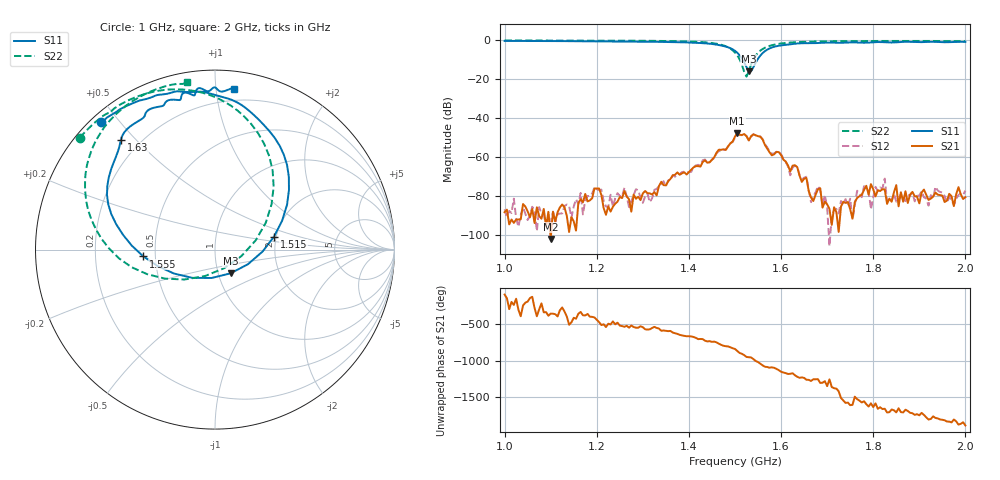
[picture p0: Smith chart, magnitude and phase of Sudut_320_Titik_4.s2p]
# Hz S RI R 50
! CMT, C1220, 16058040, 17.2.0/1
! Date: 14/08/2018 12:33:37
! Data: Format (Calibration Info)
! Freq  S11: Re/Im (F2)  S21: Re/Im (F2)  S12: Re/Im (F2)  S22: Re/Im (F2)
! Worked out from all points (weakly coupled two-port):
!   201 points, 1 GHz to 2 GHz, reference 50 ohm
!   highest |S21| = -47.91 dB at 1.505 GHz (marker M1); lowest = -102.1 dB at 1.1 GHz (marker M2)
!   lowest |S11| = -16.0 dB at 1.53 GHz (marker M3), VSWR 1.38, Z = 57.3 - j15.5 ohm
!   |S11| at or under -10 dB: 1.516 GHz to 1.549 GHz (32.52 MHz wide, 2.12 % of centre)
!   |S22| runs from -18.7 to -0.2 dB; largest |S21 - S12| = 0.00024
!   S11 on the Smith chart (normalised r, x): 1 GHz: 0.03, +0.45; 1.515 GHz: 1.95, +0.32; 1.555 GHz: 0.43, -0.04; 1.63 GHz: 0.13, +0.45; 2 GHz: 0.12, +1.12
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1e9  -0.6337 0.7087  -7.4e-06 -3.75e-05  3.26e-06 4.54e-05  -0.7532 0.624
1.1e9  -0.5357 0.7783  7.84e-06 -1.25e-07  1.7e-05 -8.4e-06  -0.6808 0.6984
1.17e9  -0.4564 0.8162  6.29e-05 -2.72e-05  2.68e-06 -3.33e-05  -0.6171 0.7493
1.33e9  -0.2002 0.8814  -9.96e-05 2.76e-05  -0.00014 5.82e-05  -0.4116 0.8603
1.335e9  -0.1914 0.8802  -0.000164 7.27e-05  -0.000148 9.81e-05  -0.4019 0.8635
1.45e9  0.1922 0.7715  0.00077 -0.000352  0.000746 -0.000392  0.0209 0.8401
1.5e9  0.4122 0.3325  -0.00176 -0.00285  -0.00166 -0.00263  0.3268 0.3496
1.505e9  0.4014 0.2501  -0.00347 -0.00204  -0.00331 -0.00206  0.3151 0.2521
1.515e9  0.3291 0.0728  -0.00362 0.000474  -0.00361 0.000378  0.2265 0.0511
1.53e9  0.087 -0.1322  -0.00158 0.00213  -0.0016 0.00215  -0.0569 -0.1479
1.555e9  -0.3992 -0.0378  0.00264 0.00199  0.00258 0.00216  -0.5352 -0.0483
1.62e9  -0.5338 0.5696  -6.72e-05 -0.000419  -4.18e-05 -0.000335  -0.7064 0.4975
1.63e9  -0.5241 0.6127  -0.0003 -0.000537  -0.00023 -0.000546  -0.6917 0.5425
1.67e9  -0.4068 0.7287  -7.35e-05 -8.06e-06  -8.52e-05 -5.06e-05  -0.6248 0.6702
1.68e9  -0.3926 0.7428  -0.000147 -1.84e-05  -0.000175 -3.36e-05  -0.6086 0.6927
1.69e9  -0.3866 0.7601  -3.76e-05 3.3e-05  -5.29e-05 2.56e-05  -0.5923 0.7115
1.8e9  -0.1861 0.8599  -0.000144 3.19e-05  -6.67e-05 6.4e-05  -0.4265 0.8469
1.825e9  -0.142 0.8691  -0.00012 8.34e-05  -0.000218 0.000172  -0.3919 0.865
1.835e9  -0.1217 0.8599  -1.2e-05 8.41e-05  -2.06e-05 8.07e-05  -0.3785 0.872
1.85e9  -0.11 0.869  -1.68e-05 0.000188  3.75e-06 7.12e-05  -0.3582 0.8812
1.855e9  -0.1078 0.8785  -4.71e-05 2.64e-05  -2.39e-05 7.66e-05  -0.3514 0.8836
2e9  0.107 0.8926  1.19e-05 -9.18e-05  5.07e-06 -0.000137  -0.1552 0.9313
